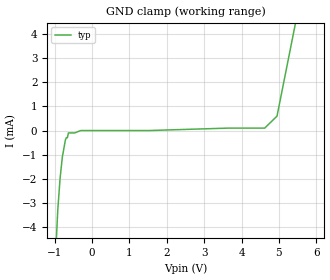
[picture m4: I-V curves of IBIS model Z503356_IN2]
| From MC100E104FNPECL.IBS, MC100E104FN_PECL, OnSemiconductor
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| (C) COPYRIGHT 1993-2000
| MENTOR GRAPHICS CORPORATION
| ICX STANDARD LIBRARY, ICX PROJECT MODELING,
| ICX CUSTOM MODELING, ICX VENDOR MODEL
| ALL RIGHTS RESERVED.
| THE FOLLOWING ARE TRADEMARKS OR SERVICE MARKS OF
| MENTOR GRAPHICS CORPORATION:ICX (R), ICX STANDARD
| LIBRARY(R), ICX PROJECT MODELING(R), ICX CUSTOM
| MODELING(R), qualityIBIS(TM), MODELVIEWER(TM),
| AND MODELEDITOR(TM)
| ALL COPIES OF SOFTWARE, INCLUDING BUT NOT LIMITED TO
| ANY MODIFICATIONS, ENHANCEMENTS OR DERIVATIVE WORKS,
| MUST CONTAIN ALL MENTOR GRAPHICS CORPORATION'S
| NOTICES AND LEGENDS, INCLUDING THOSE EMBEDDED IN
| SOFTWARE AND THOSE AFFIXED TO SOFTWARE MEDIUM
| AND CONTAINER, AS RECEIVED FROM MENTOR GRAPHICS
| CORPORATION.
| Model Application Version 1.89 2/18/99.
[Model] Z503356_IN2
Model_type Input_ECL
Vinl = 3.525V
Vinh = 3.835V
C_comp 4.000pF NA NA
| variable typ   min   max
[Voltage Range] 5.000V NA NA
[GND Clamp Reference] 0.000V NA NA
[POWER Clamp Reference] 5.000V NA NA
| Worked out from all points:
|   GND clamp passes 1 mA (typ) near -0.78 V on its own axis
[GND Clamp]
-5V       -191.1mA   NA         NA
-1.059V   -7.9mA     NA         NA
-917mV    -3.3mA     NA         NA
-856mV    -2mA       NA         NA
-795mV    -1.1mA     NA         NA
-714mV    -400uA     NA         NA
-660.9mV  -300uA     NA         NA
-633mV    -100uA     NA         NA
-301.3mV  0A         NA         NA
4.62V     100uA      NA         NA
4.95V     600uA      NA         NA
10V       40.09mA    NA         NA
[POWER Clamp]
-5V       0A         NA         NA
10V       0A         NA         NA
